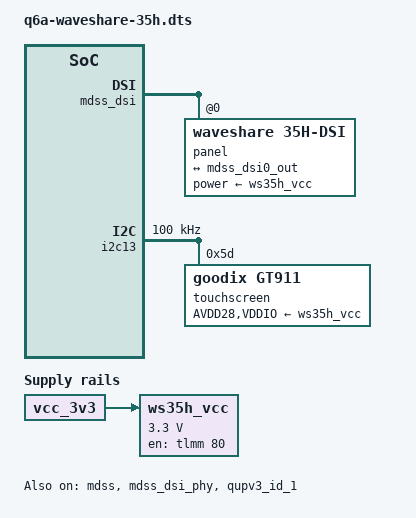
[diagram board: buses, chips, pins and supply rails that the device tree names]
// SPDX-License-Identifier: GPL-2.0-only
/dts-v1/;
/plugin/;

/ {
	metadata {
		title = "Enable Waveshare 3.5inch DSI LCD (H)";
		compatible = "radxa,dragon-q6a";
		category = "display";
		exclusive = "mdss_dsi", "gpio80";
		description = "480x800 DSI display and Goodix touch on the J10 display adapter.";
	};
};

&{/} {
	ws35h_vcc: regulator-waveshare-35h {
		compatible = "regulator-fixed";
		regulator-name = "waveshare-35h-3v3";
		regulator-min-microvolt = <3300000>;
		regulator-max-microvolt = <3300000>;
		vin-supply = <&vcc_3v3>;
		gpio = <&tlmm 80 0>;	/* LCD_VCC_EN, active high */
		enable-active-high;
		/* Allow the module to boot before the first I2C transfer. */
		startup-delay-us = <100000>;
	};
};

&mdss {
	status = "okay";
};

&mdss_dsi_phy {
	vdds-supply = <&vreg_l10c_0p88>;
	status = "okay";
};

&mdss_dsi {
	#address-cells = <1>;
	#size-cells = <0>;
	vdda-supply = <&vreg_l6b_1p2>;
	status = "okay";

	panel@0 {
		compatible = "waveshare,35h-dsi";
		reg = <0>;
		power-supply = <&ws35h_vcc>;
		width-mm = <45>;
		height-mm = <76>;

		panel-timing {
			clock-frequency = <33600000>;
			hactive = <480>;
			hfront-porch = <48>;
			hsync-len = <32>;
			hback-porch = <80>;
			vactive = <800>;
			vfront-porch = <3>;
			vsync-len = <10>;
			vback-porch = <62>;
		};

		port {
			ws35h_in: endpoint {
				remote-endpoint = <&mdss_dsi0_out>;
				data-lanes = <0>;
			};
		};
	};
};

&mdss_dsi0_out {
	remote-endpoint = <&ws35h_in>;
	data-lanes = <0>;
};

&qupv3_id_1 {
	status = "okay";
};

&i2c13 {
	#address-cells = <1>;
	#size-cells = <0>;
	clock-frequency = <100000>;
	status = "okay";

	/* The 15-pin display connector carries neither INT nor RESET. */
	touchscreen@5d {
		compatible = "goodix,gt911";
		reg = <0x5d>;
		AVDD28-supply = <&ws35h_vcc>;
		VDDIO-supply = <&ws35h_vcc>;
	};
};
